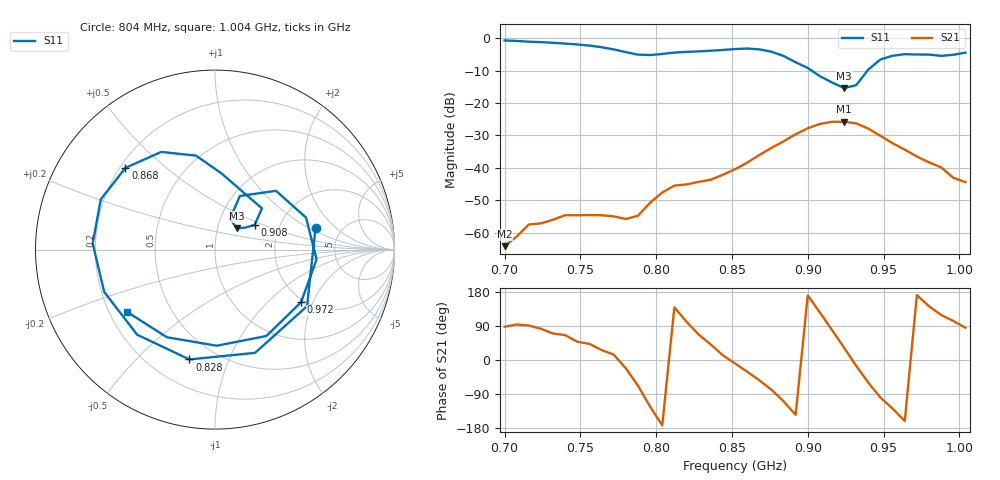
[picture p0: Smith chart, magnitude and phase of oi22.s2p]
# Hz S RI R 50
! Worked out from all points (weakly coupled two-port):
!   39 points, 700 MHz to 1.004 GHz, reference 50 ohm
!   highest |S21| = -25.76 dB at 924 MHz (marker M1); lowest = -64.2 dB at 700 MHz (marker M2)
!   lowest |S11| = -15.4 dB at 924 MHz (marker M3), VSWR 1.41, Z = 62 + j15.1 ohm
!   |S11| at or under -10 dB: 902.6 MHz to 939.4 MHz (36.77 MHz wide, 3.99 % of centre)
!   S12 and S22 are empty: the file has one direction only
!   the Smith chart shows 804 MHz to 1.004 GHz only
!   S11 on the Smith chart (normalised r, x): 804 MHz: 3.23, +1.16; 828 MHz: 0.36, -0.73; 868 MHz: 0.22, +0.37; 908 MHz: 1.49, +0.44; 972 MHz: 1.92, -1.64; 1.004 GHz: 0.27, -0.30
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7e8  0.7613 0.5271  2.38e-05 0.000618  0 0  0 0
7.24e8  0.8336 -0.2574  0.000184 0.00138  0 0  0 0
7.4e8  0.4407 -0.7015  0.00077 0.00169  0 0  0 0
7.56e8  -0.197 -0.7455  0.00138 0.00126  0 0  0 0
7.72e8  -0.6476 -0.1846  0.00173 0.000438  0 0  0 0
7.8e8  -0.5659 0.2302  0.00151 -0.000614  0 0  0 0
7.88e8  -0.2096 0.5189  0.000694 -0.00169  0 0  0 0
7.96e8  0.2656 0.4831  -0.00158 -0.00242  0 0  0 0
8.04e8  0.5602 0.1205  -0.00413 -0.000547  0 0  0 0
8.2e8  0.2232 -0.5752  -0.00105 0.00545  0 0  0 0
8.28e8  -0.1425 -0.612  0.00234 0.00561  0 0  0 0
8.52e8  -0.6812 0.0344  0.00938 -0.0015  0 0  0 0
8.68e8  -0.499 0.4553  0.00941 -0.0127  0 0  0 0
8.84e8  -0.1061 0.5236  -0.00822 -0.0243  0 0  0 0
9e8  0.2616 0.2299  -0.0402 0.00675  0 0  0 0
9.08e8  0.2208 0.1373  -0.0275 0.0388  0 0  0 0
9.24e8  0.1228 0.118  0.0435 0.0276  0 0  0 0
9.4e8  0.1386 0.2987  0.0201 -0.0349  0 0  0 0
9.56e8  0.5075 0.1777  -0.0149 -0.0188  0 0  0 0
9.72e8  0.4795 -0.2931  -0.0148 0.00228  0 0  0 0
9.88e8  0.00981 -0.5355  -0.00491 0.00892  0 0  0 0
1.004e9  -0.489 -0.3478  0.000501 0.00601  0 0  0 0
